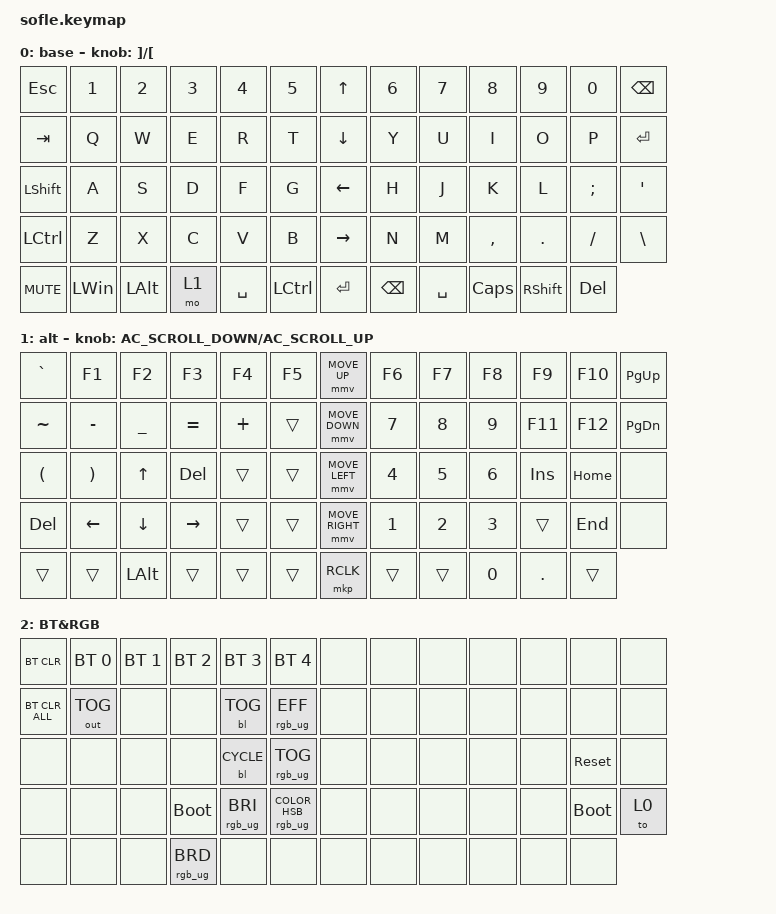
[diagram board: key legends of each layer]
#include <behaviors/mouse_keys.dtsi>
#include <dt-bindings/zmk/mouse.h>
#include <behaviors.dtsi>
#include <dt-bindings/zmk/backlight.h>
#include <dt-bindings/zmk/bt.h>
#include <dt-bindings/zmk/keys.h>
#include <dt-bindings/zmk/outputs.h>
#include <dt-bindings/zmk/rgb.h>

#define ZMK_MOUSE_DEFAULT_MOVE_VAL 1200  // 600
#define ZMK_MOUSE_DEFAULT_SCRL_VAL 20    // 10
#define U_MS_U &mmv MOVE_UP
#define U_MS_D &mmv MOVE_DOWN
#define U_MS_L &mmv MOVE_LEFT
#define U_MS_R &mmv MOVE_RIGHT
#define ZMK_MOUSE_DEFAULT_MOVE_VAL 1200  //  600
#define ZMK_MOUSE_DEFAULT_SCRL_VAL 20    // 10

/ {
    behaviors {
        mmv {
            acceleration-exponent = <1>;      // 1
            time-to-max-speed-ms = <900>;    // 40
            delay-ms = <0>;                   // 0
        };

        msc {
            acceleration-exponent = <1>;      // 0
            time-to-max-speed-ms = <400>;      // 500
            delay-ms = <0>;                   //   10
        };
    };

    scroll_encoder: scroll_encoder {
        compatible = "zmk,behavior-sensor-rotate";
        #sensor-binding-cells = <0>;
        bindings = <&msc SCRL_DOWN>, <&msc SCRL_UP>;

        tap-ms = <30>;
    };

    combos {
        compatible = "zmk,combos";

        btlayer {
            bindings = <&tog 2>;
            key-positions = <51 38>;
            layers = <0>;
        };
    };

    macros {
        ctrl_y_redo: ctrl_y {
            compatible = "zmk,behavior-macro";
            #binding-cells = <0>;
            bindings = <&kp LC(Y)>;
            label = "CTRL_Y";
        };
    };

    keymap {
        compatible = "zmk,keymap";

        layer0 {
            bindings = <
&kp ESC         &kp N1        &kp N2        &kp N3  &kp N4     &kp N5       &kp UP_ARROW     &kp N6         &kp N7     &kp N8        &kp N9           &kp N0      &kp BACKSPACE
&kp TAB         &kp Q         &kp W         &kp E   &kp R      &kp T        &kp DOWN_ARROW   &kp Y          &kp U      &kp I         &kp O            &kp P       &kp ENTER
&kp LEFT_SHIFT  &kp A         &kp S         &kp D   &kp F      &kp G        &kp LEFT_ARROW   &kp H          &kp J      &kp K         &kp L            &kp SEMI    &kp APOS
&kp LCTRL       &kp Z         &kp X         &kp C   &kp V      &kp B        &kp RIGHT_ARROW  &kp N          &kp M      &kp COMMA     &kp DOT          &kp FSLH    &kp BACKSLASH
&kp C_MUTE      &kp LEFT_WIN  &kp LEFT_ALT  &mo 1   &kp SPACE  &kp LCTRL    &kp ENTER        &kp BACKSPACE  &kp SPACE  &kp CAPSLOCK  &kp RIGHT_SHIFT  &kp DELETE
            >;

            sensor-bindings = <&inc_dec_kp RIGHT_BRACKET LEFT_BRACKET>;
            display-name = "base";
        };

        layer_1 {
            bindings = <
&kp GRAVE             &kp F1                 &kp F2          &kp F3      &kp F4    &kp F5    &mmv MOVE_UP     &kp F6  &kp F7  &kp F8  &kp F9   &kp F10   &kp PG_UP
&kp TILDE             &kp MINUS              &kp UNDERSCORE  &kp EQUAL   &kp PLUS  &trans    &mmv MOVE_DOWN   &kp N7  &kp N8  &kp N9  &kp F11  &kp F12   &kp PAGE_DOWN
&kp LEFT_PARENTHESIS  &kp RIGHT_PARENTHESIS  &kp UP          &kp DELETE  &trans    &trans    &mmv MOVE_LEFT   &kp N4  &kp N5  &kp N6  &kp INS  &kp HOME  &none
&kp DEL               &kp LEFT               &kp DOWN        &kp RIGHT   &trans    &trans    &mmv MOVE_RIGHT  &kp N1  &kp N2  &kp N3  &trans   &kp END   &none
&trans                &trans                 &kp LEFT_ALT    &trans      &trans    &trans    &mkp RCLK        &trans  &trans  &kp N0  &kp DOT  &trans
            >;

            display-name = "alt";
            sensor-bindings = <&inc_dec_kp C_AC_SCROLL_DOWN C_AC_SCROLL_UP>;
        };

        layer_2 {
            bindings = <
&bt BT_CLR      &bt BT_SEL 0  &bt BT_SEL 1  &bt BT_SEL 2     &bt BT_SEL 3     &bt BT_SEL 4                      &none  &none  &none  &none  &none  &none        &none
&bt BT_CLR_ALL  &out OUT_TOG  &none         &none            &bl BL_TOG       &rgb_ug RGB_EFF                   &none  &none  &none  &none  &none  &none        &none
&none           &none         &none         &none            &bl BL_CYCLE     &rgb_ug RGB_TOG                   &none  &none  &none  &none  &none  &sys_reset   &none
&none           &none         &none         &bootloader      &rgb_ug RGB_BRI  &rgb_ug RGB_COLOR_HSB(0,0,100)    &none  &none  &none  &none  &none  &bootloader  &to 0
&none           &none         &none         &rgb_ug RGB_BRD  &none            &none                             &none  &none  &none  &none  &none  &none
            >;

            label = "BT&RGB";
        };
    };
};
